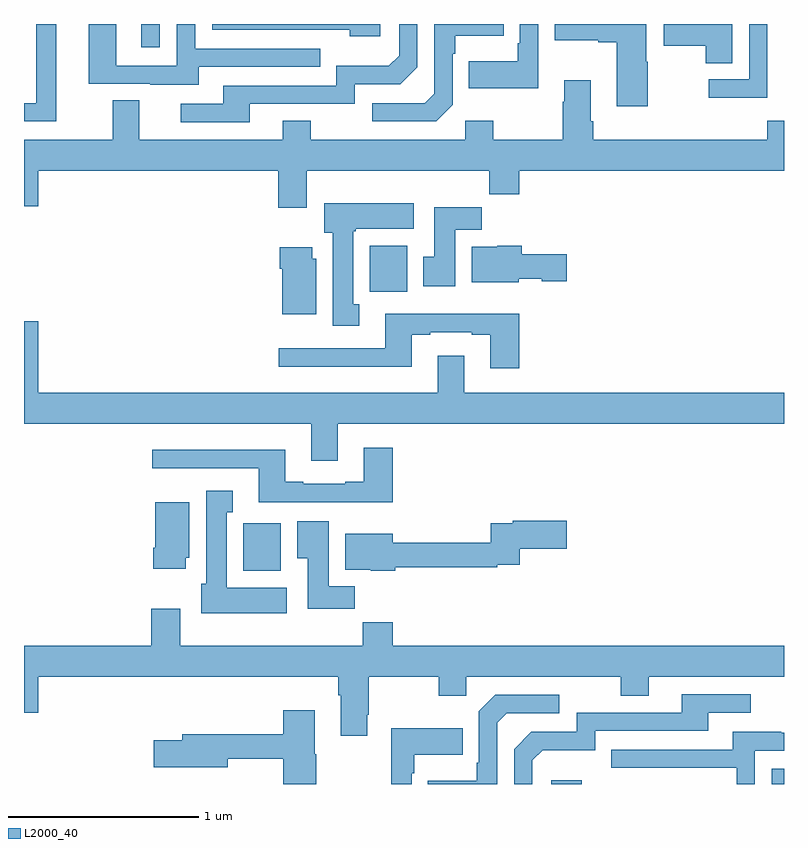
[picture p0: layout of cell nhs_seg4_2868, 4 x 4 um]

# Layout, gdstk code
import gdstk
lib = gdstk.Library(unit=1e-6, precision=1e-09)
def R(c, l, rs):  # rectangles x0, y0, x1, y1
    for r in rs: c.add(gdstk.rectangle(r[:2], r[2:], *l))
def P(c, l, *ps):  # polygons
    for p in ps: c.add(gdstk.Polygon(p, *l))
L2000_40 = (2000, 40)

nhs_seg4_2868 = lib.new_cell('nhs_seg4_2868')
R(nhs_seg4_2868, L2000_40, [(263.775,818.9,263.936,818.92), (264.936,818.9,265,818.98), (262.155,820.022,262.351,820.272), (262.82,821.492,263.017,821.734), (261.617,822.777,261.714,822.9)])
P(nhs_seg4_2868, L2000_40, [(264.282,822.701),(264.274,822.701),(264.274,822.9),(263.793,822.9),(263.793,822.815),(264.023,822.815),(264.023,822.803),(264.119,822.803),(264.119,822.468),(264.282,822.468)],
  [(262.189,822.48),(262.74,822.48),(262.74,822.582),(262.98,822.582),(263.07,822.672),(263.07,822.9),(262.974,822.9),(262.974,822.732),(262.921,822.679),(262.644,822.679),(262.644,822.576),(262.049,822.576),(262.049,822.48),(261.825,822.48),(261.825,822.384),(262.189,822.384)],
  [(263.706,822.9),(263.61,822.9),(263.61,822.799),(263.598,822.799),(263.598,822.703),(263.341,822.703),(263.341,822.563),(263.706,822.563)],
  [(261.919,822.675),(262.559,822.675),(262.559,822.771),(261.9,822.771),(261.9,822.9),(261.804,822.9),(261.804,822.681),(261.486,822.681),(261.486,822.9),(261.341,822.9),(261.341,822.585),(261.665,822.585),(261.665,822.581),(261.919,822.581)],
  [(261.169,822.9),(261.065,822.9),(261.065,822.483),(261,822.483),(261,822.387),(261.169,822.387)],
  [(264.727,822.9),(264.366,822.9),(264.366,822.785),(264.589,822.785),(264.589,822.694),(264.727,822.694)],
  [(262.876,822.9),(261.99,822.9),(261.99,822.87),(262.715,822.87),(262.715,822.836),(262.876,822.836)],
  [(264.912,822.9),(264.816,822.9),(264.816,822.609),(264.603,822.609),(264.603,822.511),(264.912,822.511)],
  [(263.256,822.474),(263.256,822.743),(263.269,822.743),(263.269,822.839),(263.525,822.839),(263.525,822.9),(263.16,822.9),(263.16,822.534),(263.109,822.483),(262.833,822.483),(262.833,822.387),(263.169,822.387)],
  [(262.489,822.128),(263.449,822.128),(263.449,822.004),(263.606,822.004),(263.606,822.128),(265,822.128),(265,822.391),(264.911,822.391),(264.911,822.292),(263.996,822.292),(263.996,822.388),(263.983,822.388),(263.983,822.604),(263.843,822.604),(263.843,822.491),(263.836,822.491),(263.836,822.292),(263.469,822.292),(263.469,822.391),(263.322,822.391),(263.322,822.292),(262.509,822.292),(262.509,822.391),(262.361,822.391),(262.361,822.292),(261.607,822.292),(261.607,822.5),(261.467,822.5),(261.467,822.292),(261,822.292),(261,821.94),(261.076,821.94),(261.076,822.128),(262.337,822.128),(262.337,821.934),(262.489,821.934)],
  [(262.765,821.426),(262.732,821.426),(262.732,821.809),(262.746,821.809),(262.746,821.822),(263.05,821.822),(263.05,821.956),(262.58,821.956),(262.58,821.802),(262.625,821.802),(262.625,821.313),(262.765,821.313)],
  [(263.269,821.816),(263.408,821.816),(263.408,821.935),(263.159,821.935),(263.159,821.676),(263.102,821.676),(263.102,821.52),(263.269,821.52)],
  [(263.604,821.558),(263.724,821.558),(263.724,821.546),(263.857,821.546),(263.857,821.688),(263.621,821.688),(263.621,821.734),(263.49,821.734),(263.49,821.728),(263.357,821.728),(263.357,821.54),(263.604,821.54)],
  [(262.537,821.664),(262.516,821.664),(262.516,821.725),(262.346,821.725),(262.346,821.612),(262.358,821.612),(262.358,821.372),(262.537,821.372)],
  [(263.606,821.374),(262.901,821.374),(262.901,821.193),(262.341,821.193),(262.341,821.096),(263.041,821.096),(263.041,821.265),(263.137,821.265),(263.137,821.277),(263.357,821.277),(263.357,821.265),(263.453,821.265),(263.453,821.088),(263.606,821.088)],
  [(262.651,820.796),(265,820.796),(265,820.96),(263.317,820.96),(263.317,821.155),(263.177,821.155),(263.177,820.96),(261.076,820.96),(261.076,821.335),(261,821.335),(261,820.796),(262.511,820.796),(262.511,820.602),(262.651,820.602)],
  [(262.94,820.669),(262.787,820.669),(262.787,820.492),(262.691,820.492),(262.691,820.479),(262.471,820.479),(262.471,820.492),(262.375,820.492),(262.375,820.66),(261.675,820.66),(261.675,820.563),(262.235,820.563),(262.235,820.383),(262.695,820.383),(262.695,820.382),(262.94,820.382)],
  [(262.384,819.934),(262.066,819.934),(262.066,820.331),(262.099,820.331),(262.099,820.444),(261.959,820.444),(261.959,819.954),(261.932,819.954),(261.932,819.8),(262.384,819.8)],
  [(261.85,820.092),(261.871,820.092),(261.871,820.384),(261.692,820.384),(261.692,820.144),(261.68,820.144),(261.68,820.032),(261.85,820.032)],
  [(262.955,820.041),(263.492,820.041),(263.492,820.053),(263.609,820.053),(263.609,820.139),(263.857,820.139),(263.857,820.286),(263.572,820.286),(263.572,820.273),(263.456,820.273),(263.456,820.169),(262.942,820.169),(262.942,820.216),(262.691,820.216),(262.691,820.028),(262.824,820.028),(262.824,820.022),(262.955,820.022)],
  [(262.742,819.94),(262.603,819.94),(262.603,820.282),(262.439,820.282),(262.439,820.088),(262.493,820.088),(262.493,819.822),(262.742,819.822)],
  [(262.807,819.265),(262.815,819.265),(262.815,819.464),(263.182,819.464),(263.182,819.365),(263.328,819.365),(263.328,819.464),(264.142,819.464),(264.142,819.365),(264.289,819.365),(264.289,819.464),(265,819.464),(265,819.628),(262.94,819.628),(262.94,819.752),(262.783,819.752),(262.783,819.628),(261.823,819.628),(261.823,819.823),(261.671,819.823),(261.671,819.628),(261,819.628),(261,819.276),(261.076,819.276),(261.076,819.464),(262.655,819.464),(262.655,819.368),(262.667,819.368),(262.667,819.153),(262.807,819.153)],
  [(263.676,819.024),(263.729,819.077),(264.006,819.077),(264.006,819.18),(264.601,819.18),(264.601,819.276),(264.826,819.276),(264.826,819.372),(264.461,819.372),(264.461,819.276),(263.91,819.276),(263.91,819.174),(263.67,819.174),(263.58,819.084),(263.58,818.9),(263.676,818.9)],
  [(263.49,819.222),(263.541,819.273),(263.818,819.273),(263.818,819.369),(263.481,819.369),(263.394,819.282),(263.394,819.013),(263.382,819.013),(263.382,818.917),(263.125,818.917),(263.125,818.9),(263.49,818.9)],
  [(262.539,819.057),(262.531,819.057),(262.531,819.289),(262.364,819.289),(262.364,819.163),(261.833,819.163),(261.833,819.129),(261.684,819.129),(261.684,818.987),(262.072,818.987),(262.072,819.034),(262.364,819.034),(262.364,818.9),(262.539,818.9)],
  [(263.04,818.957),(263.053,818.957),(263.053,819.053),(263.309,819.053),(263.309,819.193),(262.932,819.193),(262.932,818.9),(263.04,818.9)],
  [(264.846,819.075),(265,819.075),(265,819.171),(264.985,819.171),(264.985,819.175),(264.731,819.175),(264.731,819.081),(264.091,819.081),(264.091,818.985),(264.75,818.985),(264.75,818.9),(264.846,818.9)])

lib.write_gds('nhs_seg4_2868.gds')
